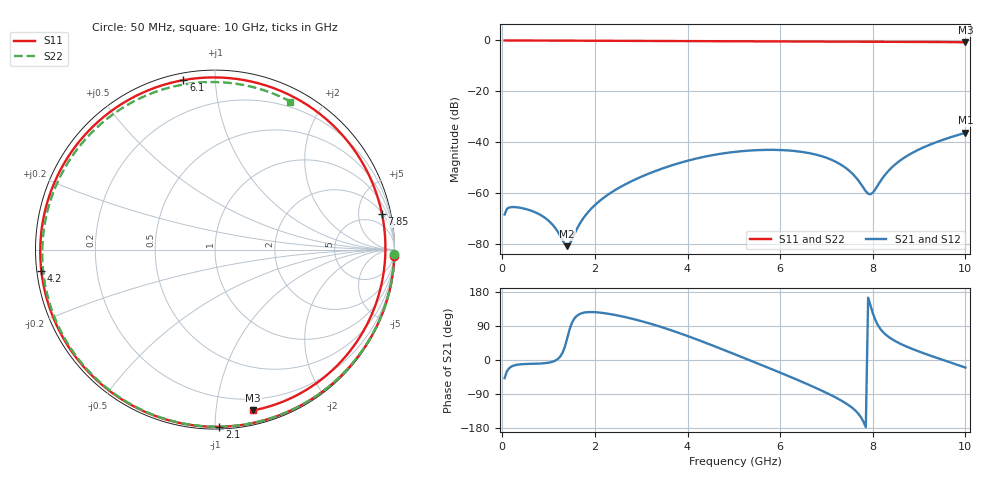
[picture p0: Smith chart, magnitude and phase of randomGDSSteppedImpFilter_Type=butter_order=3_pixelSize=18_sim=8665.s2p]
! freq	dB(S11)	phase(S11)	dB(S12)	phase(S12)
!  dB(S21)	phase(S21)	dB(S22)	phase(S22)
!S-par simulation data
#  GHz  S  DB  R 50
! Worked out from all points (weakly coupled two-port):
!   200 points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, 50 MHz to 10 GHz, reference 50 ohm
!   highest |S21| = -36.30 dB at 10 GHz (marker M1); lowest = -80.9 dB at 1.4 GHz (marker M2)
!   lowest |S11| = -0.7 dB at 10 GHz (marker M3), VSWR 24.26, Z = 5.34 - j63 ohm
!   |S11| at or under -10 dB: nowhere
!   |S22| runs from -0.7 to 0.0 dB; largest |S21 - S12| = 0
!   S11 on the Smith chart (normalised r, x): 50 MHz: 0, -52; 2.1 GHz: 0.01, -1.02; 4.2 GHz: 0.01, -0.06; 6.1 GHz: 0.03, +0.83; 7.85 GHz: 2.16, +9.01; 10 GHz: 0.11, -1.26
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0.05  -0.00 -2.2  -68.43 -47.9  -68.43 -47.9  -0.00 -1.5
0.1  -0.00 -4.4  -66.19 -29.5  -66.19 -29.5  -0.00 -2.9
0.2  -0.00 -8.7  -65.51 -17.1  -65.51 -17.1  -0.00 -5.8
0.75  -0.04 -32.5  -67.88 -9.7  -67.88 -9.7  -0.02 -21.8
1.05  -0.05 -45.3  -71.75 -5.8  -71.75 -5.8  -0.04 -30.4
1.4  -0.07 -60.0  -80.87 56.4  -80.87 56.4  -0.05 -40.3
1.45  -0.08 -62.0  -80.19 79.4  -80.19 79.4  -0.05 -41.7
1.75  -0.09 -74.4  -69.89 124.6  -69.89 124.6  -0.06 -50.1
2.1  -0.11 -88.6  -63.11 125.2  -63.11 125.2  -0.08 -59.8
2.75  -0.14 -114.6  -55.70 110.5  -55.70 110.5  -0.10 -77.4
3.4  -0.17 -140.5  -50.70 88.3  -50.70 88.3  -0.12 -94.6
4.2  -0.22 -172.9  -46.38 54.3  -46.38 54.3  -0.16 -115.4
5.05  -0.28 150.5  -43.74 13.7  -43.74 13.7  -0.21 -137.4
5.6  -0.32 125.0  -43.05 -13.3  -43.05 -13.3  -0.25 -151.9
6.1  -0.35 100.6  -43.16 -38.3  -43.16 -38.3  -0.29 -165.3
6.7  -0.38 70.1  -44.57 -69.8  -44.57 -69.8  -0.34 177.8
7.4  -0.41 34.3  -49.89 -112.8  -49.89 -112.8  -0.41 157.0
7.85  -0.43 12.0  -59.28 -177.4  -59.28 -177.4  -0.45 142.6
8  -0.44 4.8  -59.87 123.9  -59.87 123.9  -0.47 137.6
8.35  -0.47 -11.4  -51.04 60.2  -51.04 60.2  -0.50 125.7
9.2  -0.57 -47.2  -41.22 13.3  -41.22 13.3  -0.59 94.5
10  -0.72 -76.7  -36.30 -20.0  -36.30 -20.0  -0.67 63.0
